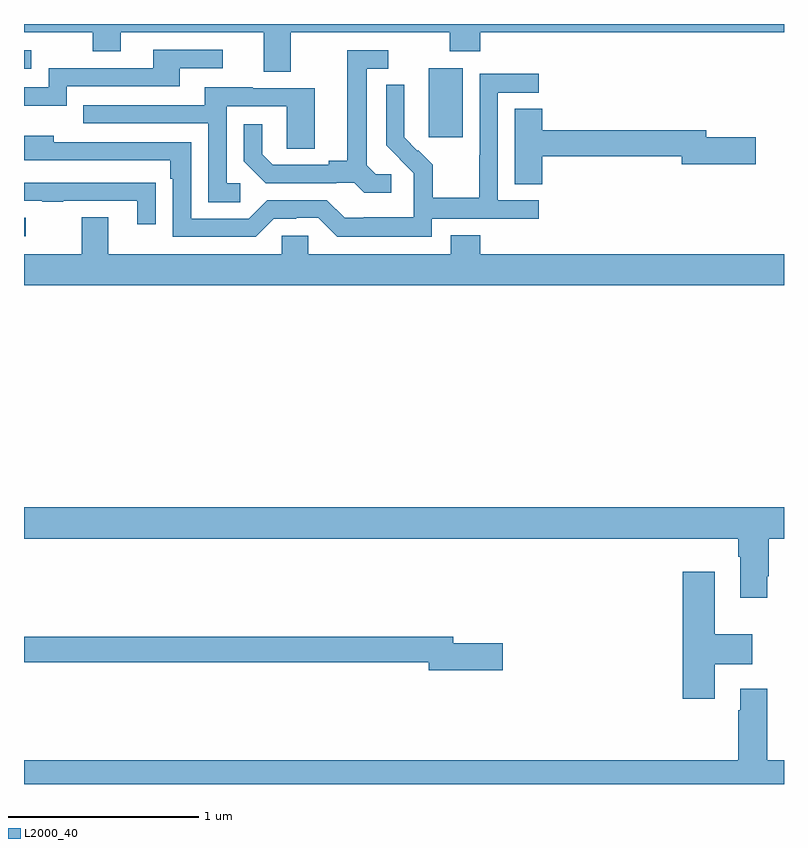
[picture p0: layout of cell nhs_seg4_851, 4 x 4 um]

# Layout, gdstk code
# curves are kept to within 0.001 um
import gdstk
lib = gdstk.Library(unit=1e-6, precision=1e-09)
def R(c, l, rs):  # rectangles x0, y0, x1, y1
    for r in rs: c.add(gdstk.rectangle(r[:2], r[2:], *l))
def P(c, l, *ps):  # polygons
    for p in ps: c.add(gdstk.Polygon(p, *l))
L2000_40 = (2000, 40)

nhs_seg4_851 = lib.new_cell('nhs_seg4_851')
R(nhs_seg4_851, L2000_40, [(155,759.783,155.008,759.879), (157.13,760.305,157.309,760.666), (155,760.665,155.038,760.761)])
P(nhs_seg4_851, L2000_40, [(156.403,760.856),(157.24,760.856),(157.24,760.757),(157.4,760.757),(157.4,760.856),(159,760.856),(159,760.9),(155,760.9),(155,760.856),(155.362,760.856),(155.362,760.757),(155.509,760.757),(155.509,760.856),(156.263,760.856),(156.263,760.648),(156.403,760.648)],
  [(155.226,760.572),(155.821,760.572),(155.821,760.668),(156.046,760.668),(156.046,760.764),(155.681,760.764),(155.681,760.668),(155.13,760.668),(155.13,760.566),(155,760.566),(155,760.469),(155.226,760.469)],
  [(156.934,760.11),(156.852,760.11),(156.805,760.157),(156.805,760.665),(156.916,760.665),(156.916,760.761),(156.701,760.761),(156.701,760.181),(156.605,760.181),(156.605,760.158),(156.31,760.158),(156.253,760.215),(156.253,760.372),(156.156,760.372),(156.156,760.178),(156.272,760.062),(156.644,760.062),(156.644,760.065),(156.738,760.065),(156.79,760.013),(156.934,760.013)],
  [(157.146,759.876),(157.708,759.876),(157.708,759.972),(157.494,759.972),(157.494,760.539),(157.708,760.539),(157.708,760.638),(157.398,760.638),(157.398,760.208),(157.396,760.208),(157.396,759.985),(157.151,759.985),(157.151,760.159),(157.074,760.236),(157.071,760.233),(157.001,760.304),(157.002,760.58),(156.906,760.58),(156.906,760.262),(157.052,760.114),(157.052,760.017),(157.05,760.017),(157.05,759.883),(156.787,759.883),(156.787,759.879),(156.687,759.879),(156.594,759.972),(156.279,759.972),(156.183,759.876),(155.88,759.876),(155.88,760.278),(155.156,760.278),(155.156,760.312),(155,760.312),(155,760.182),(155.771,760.182),(155.771,760.085),(155.784,760.085),(155.784,759.78),(156.219,759.78),(156.315,759.876),(156.434,759.876),(156.434,759.879),(156.549,759.879),(156.649,759.779),(157.146,759.779)],
  [(156.139,760.062),(156.066,760.062),(156.066,760.467),(156.384,760.467),(156.384,760.243),(156.529,760.243),(156.529,760.563),(156.205,760.563),(156.205,760.567),(155.951,760.567),(155.951,760.473),(155.311,760.473),(155.311,760.377),(155.97,760.377),(155.97,759.961),(156.139,759.961)],
  [(157.727,760.204),(158.462,760.204),(158.462,760.162),(158.851,760.162),(158.851,760.304),(158.59,760.304),(158.59,760.34),(157.727,760.34),(157.727,760.454),(157.583,760.454),(157.583,760.057),(157.727,760.057)],
  [(155.693,760.064),(155.591,760.064),(155.591,760.065),(155,760.065),(155,759.969),(155.095,759.969),(155.095,759.964),(155.207,759.964),(155.207,759.969),(155.597,759.969),(155.597,759.846),(155.693,759.846)],
  [(159,759.688),(157.4,759.688),(157.4,759.787),(157.247,759.787),(157.247,759.688),(156.495,759.688),(156.495,759.786),(156.357,759.786),(156.357,759.688),(155.443,759.688),(155.443,759.883),(155.303,759.883),(155.303,759.688),(155,759.688),(155,759.524),(159,759.524)],
  [(158.911,757.993),(158.919,757.993),(158.919,758.192),(159,758.192),(159,758.356),(155,758.356),(155,758.192),(158.759,758.192),(158.759,758.096),(158.771,758.096),(158.771,757.881),(158.911,757.881)],
  [(158.635,757.529),(158.833,757.529),(158.833,757.687),(158.635,757.687),(158.635,758.017),(158.468,758.017),(158.468,757.35),(158.635,757.35)],
  [(157.519,757.64),(157.258,757.64),(157.258,757.676),(155,757.676),(155,757.54),(157.13,757.54),(157.13,757.498),(157.519,757.498)],
  [(159,757.024),(158.911,757.024),(158.911,757.402),(158.771,757.402),(158.771,757.289),(158.759,757.289),(158.759,757.024),(155,757.024),(155,756.9),(159,756.9)])

lib.write_gds('nhs_seg4_851.gds')
